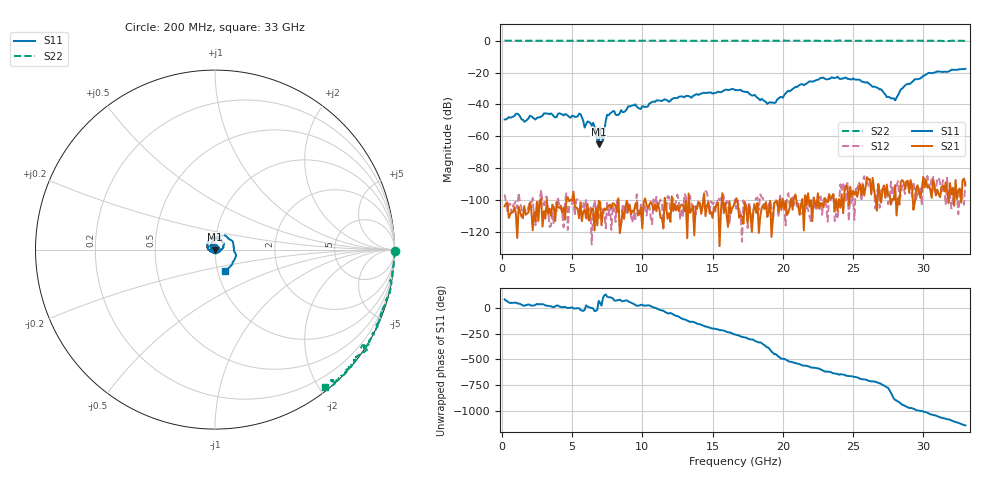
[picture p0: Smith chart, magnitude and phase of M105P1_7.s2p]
# GHZ S RI R 50
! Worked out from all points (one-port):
!   329 points, 200 MHz to 33 GHz, reference 50 ohm
!   lowest |S11| = -65.1 dB at 6.9 GHz (marker M1), VSWR 1.00, Z = 50 + j0.0517 ohm
!   |S11| at or under -10 dB: start of sweep to end of sweep
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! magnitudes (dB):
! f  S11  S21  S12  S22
! 200 MHz  -49.5  -103.9  -96.5  0.0
! 1.1 GHz  -45.8  -123.8  -105.2  0.0
! 1.6 GHz  -50.8  -103.8  -105.5  0.0
! 3 GHz  -45.7  -106.9  -103.3  0.0
! 5.7 GHz  -48.0  -113.3  -104.5  0.0
! 5.9 GHz  -54.6  -106.3  -106.0  0.0
! 6.1 GHz  -50.7  -102.6  -111.7  0.0
! 6.5 GHz  -51.6  -106.0  -106.1  0.0
! 6.9 GHz  -65.1  -100.5  -111.5  0.0
! 7 GHz  -54.6  -101.2  -102.6  0.0
! 7.2 GHz  -62.9  -107.1  -105.9  0.0
! 7.5 GHz  -46.5  -104.6  -100.9  -0.1
! 11.2 GHz  -37.7  -105.3  -102.0  0.0
! 16.6 GHz  -31.0  -101.9  -99.7  0.0
! 18.9 GHz  -39.7  -110.6  -106.7  0.0
! 22.1 GHz  -25.7  -113.2  -106.2  0.0
! 25 GHz  -23.7  -94.2  -98.3  -0.1
! 27.6 GHz  -35.5  -97.1  -100.6  0.0
! 28 GHz  -37.5  -90.7  -91.6  0.0
! 28.7 GHz  -28.1  -93.1  -96.2  -0.1
! 30.4 GHz  -20.2  -91.0  -91.4  0.0
! 33 GHz  -17.7  -90.4  -88.3  -0.1
